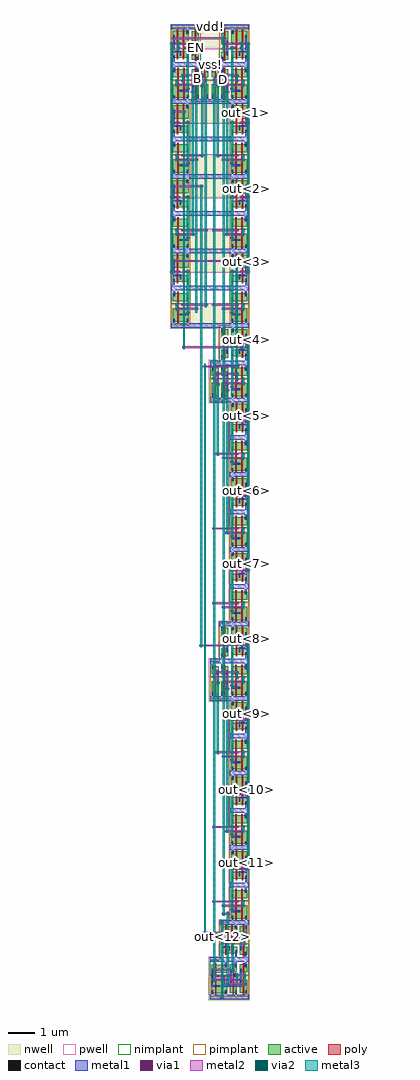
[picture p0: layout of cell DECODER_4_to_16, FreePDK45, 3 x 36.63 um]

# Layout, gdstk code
from math import pi, radians
import gdstk
lib = gdstk.Library(unit=1e-6, precision=1e-09)
def R(c, l, rs):  # rectangles x0, y0, x1, y1
    for r in rs: c.add(gdstk.rectangle(r[:2], r[2:], *l))
def A(c, l, x, y, w, h, nx, ny, dx, dy):  # array of equal rectangles
    R(c, l, [(x+i*dx, y+j*dy, x+i*dx+w, y+j*dy+h) for i in range(nx) for j in range(ny)])
active = (1, 0)
pwell = (2, 0)
nwell = (3, 0)
nimplant = (4, 0)
pimplant = (5, 0)
poly = (9, 0)
contact = (10, 0)
metal1 = (11, 0)
via1 = (12, 0)
metal2 = (13, 0)
via2 = (14, 0)
metal3 = (15, 0)

nor2 = lib.new_cell('NOR2')
R(nor2, active, [(0.15,-0.785,0.75,-0.535), (0.15,-0.265,0.75,0.235)])
R(nor2, pwell, [(0.05,-1.14,0.85,-0.435)])
R(nor2, nwell, [(0.05,-0.435,0.85,0.49)])
R(nor2, nimplant, [(0.1,-1.025,0.8,-0.435)])
R(nor2, pimplant, [(0.1,-0.435,0.8,0.375)])
R(nor2, poly, [(0.3,-0.84,0.35,0.29), (0.525,-0.84,0.575,0.29), (0.3,-0.445,0.405,-0.37), (0.525,-0.445,0.63,-0.37)])
R(nor2, contact, [(0.16,-0.78,0.225,-0.715), (0.67,-0.78,0.735,-0.715), (0.415,-0.66,0.48,-0.595), (0.33,-0.44,0.395,-0.375), (0.56,-0.44,0.625,-0.375), (0.155,-0.035,0.22,0.03), (0.66,0.165,0.725,0.23)])
R(nor2, metal1, [(0.1,-1.11,0.8,-0.94), (0.16,-1.07,0.23,-0.68), (0.67,-1.07,0.74,-0.68), (0.41,-0.695,0.48,-0.505), (0.15,-0.57,0.23,0.065), (0.15,-0.57,0.48,-0.505), (0.295,-0.44,0.43,-0.37), (0.525,-0.44,0.66,-0.37), (0.655,0.13,0.725,0.33), (0.1,0.29,0.8,0.46)])
nor2.add(gdstk.Label('vss!', (0.445,-1.01), layer=11, texttype=0))
nor2.add(gdstk.Label('vdd!', (0.465,0.365), layer=11, texttype=0))
nor2.add(gdstk.Label('B', (0.4,-0.405), layer=11, texttype=0))
nor2.add(gdstk.Label('A', (0.635,-0.405), layer=11, texttype=0))
nor2.add(gdstk.Label('Z', (0.185,-0.455), layer=11, texttype=0))

nand2 = lib.new_cell('NAND2')
R(nand2, active, [(0.26,0.295,0.86,0.595), (0.26,0.865,0.86,1.365)])
R(nand2, pwell, [(0.16,-0.01,0.96,0.695)])
R(nand2, nwell, [(0.16,0.695,0.96,1.62)])
R(nand2, nimplant, [(0.21,0.105,0.91,0.695)])
R(nand2, pimplant, [(0.21,0.695,0.91,1.505)])
R(nand2, poly, [(0.41,0.24,0.46,1.42), (0.635,0.24,0.685,1.42), (0.41,0.685,0.515,0.76), (0.635,0.685,0.74,0.76)])
R(nand2, contact, [(0.77,0.3,0.835,0.365), (0.265,0.485,0.33,0.55), (0.44,0.69,0.505,0.755), (0.67,0.69,0.735,0.755), (0.5,1.06,0.565,1.125), (0.27,1.295,0.335,1.36), (0.78,1.295,0.845,1.36)])
R(nand2, metal1, [(0.21,0.02,0.91,0.19), (0.77,0.15,0.84,0.4), (0.26,0.45,0.33,1.13), (0.405,0.69,0.54,0.76), (0.635,0.69,0.77,0.76), (0.265,1.06,0.6,1.13), (0.27,1.26,0.34,1.46), (0.78,1.26,0.85,1.465), (0.21,1.42,0.91,1.59)])
nand2.add(gdstk.Label('Z', (0.295,0.605), layer=11, texttype=0))
nand2.add(gdstk.Label('B', (0.73,0.725), layer=11, texttype=0))
nand2.add(gdstk.Label('A', (0.515,0.725), layer=11, texttype=0))
nand2.add(gdstk.Label('vss!', (0.555,0.12), layer=11, texttype=0))
nand2.add(gdstk.Label('vdd!', (0.575,1.495), layer=11, texttype=0))

invd1 = lib.new_cell('INVD1')
R(invd1, active, [(0.545,-1.465,0.82,-1.165), (0.545,-0.895,0.82,-0.395)])
R(invd1, pwell, [(0.435,-1.76,0.93,-1.055)])
R(invd1, nwell, [(0.435,-1.055,0.93,-0.13)])
R(invd1, nimplant, [(0.485,-1.645,0.88,-1.055)])
R(invd1, pimplant, [(0.485,-1.055,0.88,-0.245)])
R(invd1, poly, [(0.655,-1.515,0.705,-0.34), (0.6,-1.095,0.705,-1.02)])
R(invd1, contact, [(0.55,-1.455,0.615,-1.39), (0.745,-1.265,0.81,-1.2), (0.605,-1.09,0.67,-1.025), (0.745,-0.87,0.81,-0.805), (0.55,-0.465,0.615,-0.4)])
R(invd1, metal1, [(0.485,-1.73,0.88,-1.56), (0.55,-1.64,0.63,-1.355), (0.745,-1.3,0.815,-0.765), (0.605,-1.125,0.675,-0.99), (0.545,-0.5,0.615,-0.33), (0.485,-0.33,0.88,-0.16)])
invd1.add(gdstk.Label('vo', (0.775,-1.06), layer=11, texttype=0))
invd1.add(gdstk.Label('vi', (0.635,-1.045), layer=11, texttype=0))
invd1.add(gdstk.Label('vss!', (0.68,-1.705), layer=11, texttype=0))
invd1.add(gdstk.Label('vdd!', (0.675,-0.23), layer=11, texttype=0))

decoder_2_to_4 = lib.new_cell('DECODER_2_to_4')
R(decoder_2_to_4, metal1, [(1.925,-5.64,1.995,-5.42)])
A(decoder_2_to_4, via1, 2.11, -13.885, 0.065, 0.065, 1, 3, 0, 2.8)
A(decoder_2_to_4, via1, 2.29, -13.59, 0.065, 0.065, 1, 4, 0, 2.8)
A(decoder_2_to_4, via1, 2.52, -13.59, 0.065, 0.065, 1, 4, 0, 2.8)
A(decoder_2_to_4, via1, 2.235, -12.355, 0.065, 0.065, 1, 4, 0, 2.8)
A(decoder_2_to_4, via1, 2.465, -12.355, 0.065, 0.065, 1, 4, 0, 2.8)
R(decoder_2_to_4, via1, [(1.925,-5.605,1.99,-5.54), (2.11,-5.48,2.175,-5.415), (1.57,-5.38,1.635,-5.315), (1.925,-5.345,1.99,-5.28), (1.43,-5.16,1.495,-5.095), (1.785,-5.16,1.85,-5.095), (1.57,-4.985,1.635,-4.92), (1.93,-3.805,1.995,-3.74)])
A(decoder_2_to_4, metal2, 2.075, -13.89, 0.135, 0.07, 1, 3, 0, 2.8)
A(decoder_2_to_4, metal2, 2.485, -13.595, 0.135, 0.07, 1, 4, 0, 2.8)
A(decoder_2_to_4, metal2, 2.075, -12.355, 0.26, 0.07, 1, 4, 0, 2.8)
A(decoder_2_to_4, metal2, 2.43, -12.355, 0.38, 0.07, 1, 3, 0, 2.8)
R(decoder_2_to_4, metal2, [(1.745,-13.75,2.62,-13.68), (1.395,-13.595,2.39,-13.525), (1.89,-10.95,2.62,-10.88), (1.395,-10.795,2.39,-10.725), (1.75,-8.15,2.62,-8.08), (1.535,-7.995,2.39,-7.925), (1.89,-5.61,2.025,-5.54), (2.075,-5.485,2.21,-5.415), (1.535,-5.385,1.67,-5.315), (1.89,-5.345,2.625,-5.275), (2.255,-5.195,2.39,-5.125), (1.75,-5.165,1.885,-5.095), (1.395,-5.16,1.53,-5.09), (1.535,-4.99,2.39,-4.92), (2.43,-3.955,2.565,-3.885), (1.895,-3.805,2.81,-3.735)])
A(decoder_2_to_4, via2, 2.71, -12.355, 0.065, 0.065, 1, 3, 0, 2.8)
R(decoder_2_to_4, via2, [(2.11,-13.885,2.175,-13.82), (1.785,-13.745,1.85,-13.68), (2.52,-13.745,2.585,-13.68), (1.43,-13.59,1.495,-13.525), (2.52,-13.59,2.585,-13.525), (2.11,-12.355,2.175,-12.29), (2.11,-11.085,2.175,-11.02), (1.925,-10.945,1.99,-10.88), (2.52,-10.945,2.585,-10.88), (1.43,-10.79,1.495,-10.725), (2.52,-10.79,2.585,-10.725), (2.11,-9.555,2.175,-9.49), (2.11,-8.285,2.175,-8.22), (1.785,-8.145,1.85,-8.08), (2.52,-8.145,2.585,-8.08), (1.57,-7.99,1.635,-7.925), (2.52,-7.99,2.585,-7.925), (2.11,-6.755,2.175,-6.69), (1.925,-5.605,1.99,-5.54), (2.11,-5.48,2.175,-5.415), (1.57,-5.38,1.635,-5.315), (2.52,-5.345,2.585,-5.28), (2.29,-5.19,2.355,-5.125), (2.52,-5.19,2.585,-5.125), (1.43,-5.16,1.495,-5.095), (1.785,-5.16,1.85,-5.095), (2.29,-4.99,2.355,-4.925), (2.11,-3.955,2.175,-3.89), (2.465,-3.955,2.53,-3.89), (2.71,-3.805,2.775,-3.74), (2.465,-3.8,2.53,-3.735)])
A(decoder_2_to_4, metal3, 2.11, -13.92, 0.07, 1.665, 1, 4, 0, 2.8)
A(decoder_2_to_4, metal3, 2.52, -13.78, 0.07, 0.29, 1, 4, 0, 2.8)
R(decoder_2_to_4, metal3, [(1.785,-13.86,1.855,-5.06), (1.43,-13.655,1.5,-5.06), (2.71,-12.39,2.78,-3.705), (1.925,-10.98,1.995,-5.505), (1.57,-8.025,1.64,-5.28), (2.29,-5.225,2.36,-4.89), (2.465,-3.995,2.535,-3.69)])
decoder_2_to_4.add(gdstk.Reference(nor2, (2.86,-3.515), rotation=pi, x_reflection=True))
decoder_2_to_4.add(gdstk.Reference(nor2, (2.86,-6.315), rotation=pi, x_reflection=True))
decoder_2_to_4.add(gdstk.Reference(nor2, (2.86,-9.115), rotation=pi, x_reflection=True))
decoder_2_to_4.add(gdstk.Reference(nor2, (2.86,-11.915), rotation=pi, x_reflection=True))
decoder_2_to_4.add(gdstk.Reference(nand2, (1.85,-12.835), x_reflection=True))
decoder_2_to_4.add(gdstk.Reference(nand2, (1.85,-10.035), x_reflection=True))
decoder_2_to_4.add(gdstk.Reference(nand2, (1.85,-7.235), x_reflection=True))
decoder_2_to_4.add(gdstk.Reference(nand2, (1.85,-4.435), x_reflection=True))
decoder_2_to_4.add(gdstk.Reference(invd1, (0.825,-6.185), x_reflection=True))
decoder_2_to_4.add(gdstk.Reference(invd1, (1.18,-6.185), x_reflection=True))
decoder_2_to_4.add(gdstk.Reference(invd1, (1.18,-2.895)))
decoder_2_to_4.add(gdstk.Label('vss!', (2.485,-4.475), layer=11, texttype=0))
decoder_2_to_4.add(gdstk.Label('vdd!', (2.66,-3.09), layer=11, texttype=0))
decoder_2_to_4.add(gdstk.Label('out<3>', (2.665,-11.94), layer=11, texttype=0))
decoder_2_to_4.add(gdstk.Label('out<2>', (2.67,-9.215), layer=11, texttype=0))
decoder_2_to_4.add(gdstk.Label('out<1>', (2.66,-6.365), layer=11, texttype=0))
decoder_2_to_4.add(gdstk.Label('out<0>', (2.67,-3.535), layer=11, texttype=0))
decoder_2_to_4.add(gdstk.Label('A', (1.43,-5.06), layer=11, texttype=0))
decoder_2_to_4.add(gdstk.Label('B', (1.79,-5.07), layer=11, texttype=0))
decoder_2_to_4.add(gdstk.Label('EN', (1.785,-4.02), layer=11, texttype=0))

metal2_3 = lib.new_cell('metal2_3')
R(metal2_3, metal2, [(0.215,0.05,0.355,0.12)])
R(metal2_3, via2, [(0.25,0.05,0.32,0.12)])
R(metal2_3, metal3, [(0.25,0.01,0.32,0.16)])

metal1_3 = lib.new_cell('metal1_3')
R(metal1_3, via1, [(0.04,0.005,0.11,0.075)])
R(metal1_3, metal2, [(0.005,0.005,0.145,0.075)])
R(metal1_3, via2, [(0.04,0.005,0.11,0.075)])
R(metal1_3, metal3, [(0.04,-0.03,0.11,0.11)])

via1_8 = lib.new_cell('via1_8')
R(via1_8, metal1, [(-0.07,-0.035,0.07,0.035)])
R(via1_8, via1, [(-0.035,-0.035,0.035,0.035)])
R(via1_8, metal2, [(-0.07,-0.035,0.07,0.035)])

bit_12 = lib.new_cell('BIT_12')
R(bit_12, nimplant, [(0.51,0.93,1.96,1.52)])
R(bit_12, pimplant, [(0.51,0.12,1.96,0.93)])
R(bit_12, metal1, [(0.76,0.5,1.47,0.575), (0.76,0.5,0.83,1), (1.4,0.5,1.47,0.935), (1.055,2.07,1.125,2.21), (1.315,2.105,1.385,2.31), (0.76,2.275,1.385,2.345)])
R(bit_12, via1, [(1.46,0.08,1.525,0.145), (1.46,2.885,1.525,2.95)])
R(bit_12, metal2, [(1.425,0.075,1.56,0.145), (1.14,0.865,1.765,0.935), (1.02,1.105,1.91,1.175), (1.425,2.88,1.56,2.95)])
R(bit_12, via2, [(1.46,0.08,1.525,0.145), (1.46,2.885,1.525,2.95)])
R(bit_12, metal3, [(1.455,0.045,1.525,2.985), (1.055,1.065,1.125,2.21)])
bit_12.add(gdstk.Reference(invd1, (0.015,3.165)))
bit_12.add(gdstk.Reference(invd1, (0.395,-0.125), x_reflection=True))
bit_12.add(gdstk.Reference(invd1, (0.015,-0.125), x_reflection=True))
bit_12.add(gdstk.Reference(nand2, (2.17,1.625), rotation=pi))
bit_12.add(gdstk.Reference(nor2, (1.68,2.545), rotation=pi, x_reflection=True))
bit_12.add(gdstk.Reference(metal2_3, (0.805,1.055)))
bit_12.add(gdstk.Reference(metal1_3, (1.015,2.1)))
bit_12.add(gdstk.Reference(via1_8, (1.84,1.14)))
bit_12.add(gdstk.Reference(via1_8, (1.695,0.9)))
bit_12.add(gdstk.Reference(via1_8, (1.21,0.9)))
bit_12.add(gdstk.Label('A', (1.035,0.97), layer=11, texttype=0))
bit_12.add(gdstk.Label('bit12', (1.495,2.33), layer=11, texttype=0))
bit_12.add(gdstk.Label('EN', (0.655,2.145), layer=11, texttype=0))
bit_12.add(gdstk.Label('B', (0.655,0.965), layer=11, texttype=0))
bit_12.add(gdstk.Label('vss!', (1.445,1.555), layer=11, texttype=0))
bit_12.add(gdstk.Label('vdd!', (1.49,2.88), layer=11, texttype=0))

decoder_4_to_16 = lib.new_cell('DECODER_4_to_16')
A(decoder_4_to_16, pwell, 2.66, -10.59, 1.4, 1.18, 1, 3, 0, 2.8)
R(decoder_4_to_16, pwell, [(3.055,-1.485,3.665,-1.01)])
R(decoder_4_to_16, nwell, [(2.66,-11.515,4.06,-10.59), (2.66,-9.41,4.06,-7.79), (2.66,-6.61,4.06,-4.99), (2.66,-3.81,4.06,-3.115), (3.055,-1.01,3.665,-0.09)])
R(decoder_4_to_16, metal1, [(4.3,-35.855,4.41,-35.72), (2.585,-11.485,3.745,-11.315), (2.57,-10.085,4.125,-9.915), (2.575,-8.685,4.135,-8.515), (2.575,-7.285,4.14,-7.115), (2.57,-5.885,4.155,-5.715), (2.595,-4.485,4.13,-4.315), (2.995,-0.285,3.725,-0.115)])
R(decoder_4_to_16, via1, [(4.345,-35.82,4.41,-35.755), (4.625,-35.82,4.69,-35.755), (4.625,-34.645,4.69,-34.58), (3.84,-23.445,3.905,-23.38), (3.84,-12.245,3.905,-12.18), (1.96,-9.015,2.025,-8.95), (1.96,-6.215,2.025,-6.15), (1.96,-3.42,2.025,-3.355), (3.835,-1.045,3.9,-0.98), (1.97,-0.655,2.035,-0.59)])
R(decoder_4_to_16, via2, [(3.99,-36.13,4.055,-36.065), (4.625,-36.13,4.69,-36.065), (3.48,-35.99,3.545,-35.925), (4.345,-35.99,4.41,-35.925), (4.345,-35.82,4.41,-35.755), (4.625,-35.82,4.69,-35.755), (4.625,-34.645,4.69,-34.58), (3.135,-34.22,3.2,-34.155), (4.62,-34.22,4.685,-34.155), (3.835,-33.51,3.9,-33.445), (3.99,-33.51,4.055,-33.445), (2.995,-23.44,3.06,-23.375), (3.135,-12.97,3.2,-12.905), (4.325,-12.97,4.39,-12.905), (2.35,-12.24,2.415,-12.175), (4.325,-9.01,4.39,-8.945), (2.995,-6.21,3.06,-6.145), (2.35,-3.415,2.415,-3.35), (3.835,-1.045,3.9,-0.98), (3.835,-0.65,3.9,-0.585)])
decoder_4_to_16.add(gdstk.FlexPath([(4.725,-35.785),(4.59,-35.785)], 0.07, ends="flush", simple_path=True, layer=13, datatype=0))  # metal2
decoder_4_to_16.add(gdstk.FlexPath([(3.945,-36.1),(4.74,-36.1)], 0.07, ends="flush", simple_path=True, layer=13, datatype=0))  # metal2
decoder_4_to_16.add(gdstk.FlexPath([(3.795,-33.48),(4.105,-33.48)], 0.07, ends="flush", simple_path=True, layer=13, datatype=0))  # metal2
decoder_4_to_16.add(gdstk.FlexPath([(4.445,-35.785),(4.31,-35.785)], 0.07, ends="flush", simple_path=True, layer=13, datatype=0))  # metal2
decoder_4_to_16.add(gdstk.FlexPath([(3.445,-35.96),(4.45,-35.96)], 0.07, ends="flush", simple_path=True, layer=13, datatype=0))  # metal2
decoder_4_to_16.add(gdstk.FlexPath([(4.59,-34.615),(4.725,-34.615)], 0.07, ends="flush", simple_path=True, layer=13, datatype=0))  # metal2
decoder_4_to_16.add(gdstk.FlexPath([(4.74,-34.19),(3.095,-34.19)], 0.07, ends="flush", simple_path=True, layer=13, datatype=0))  # metal2
decoder_4_to_16.add(gdstk.FlexPath([(4.45,-12.94),(3.065,-12.94)], 0.07, ends="flush", simple_path=True, layer=13, datatype=0))  # metal2
decoder_4_to_16.add(gdstk.FlexPath([(1.925,-8.98),(4.44,-8.98)], 0.07, ends="flush", simple_path=True, layer=13, datatype=0))  # metal2
decoder_4_to_16.add(gdstk.FlexPath([(3.94,-23.41),(2.955,-23.41)], 0.07, ends="flush", simple_path=True, layer=13, datatype=0))  # metal2
decoder_4_to_16.add(gdstk.FlexPath([(1.925,-6.18),(3.105,-6.18)], 0.07, ends="flush", simple_path=True, layer=13, datatype=0))  # metal2
decoder_4_to_16.add(gdstk.FlexPath([(3.94,-12.21),(2.31,-12.21)], 0.07, ends="flush", simple_path=True, layer=13, datatype=0))  # metal2
decoder_4_to_16.add(gdstk.FlexPath([(1.925,-3.385),(2.455,-3.385)], 0.07, ends="flush", simple_path=True, layer=13, datatype=0))  # metal2
decoder_4_to_16.add(gdstk.FlexPath([(3.8,-1.01),(3.935,-1.01)], 0.07, ends="flush", simple_path=True, layer=13, datatype=0))  # metal2
decoder_4_to_16.add(gdstk.FlexPath([(1.935,-0.62),(3.965,-0.62)], 0.07, ends="flush", simple_path=True, layer=13, datatype=0))  # metal2
decoder_4_to_16.add(gdstk.FlexPath([(4.66,-35.72),(4.66,-36.175)], 0.07, ends="flush", simple_path=True, layer=15, datatype=0))  # metal3
decoder_4_to_16.add(gdstk.FlexPath([(4.025,-33.405),(4.025,-36.18)], 0.07, ends="flush", simple_path=True, layer=15, datatype=0))  # metal3
decoder_4_to_16.add(gdstk.FlexPath([(3.87,-33.285),(3.87,-33.55)], 0.07, ends="flush", simple_path=True, layer=15, datatype=0))  # metal3
decoder_4_to_16.add(gdstk.FlexPath([(3.87,-22.09),(3.87,-24.54)], 0.07, ends="flush", simple_path=True, layer=15, datatype=0))  # metal3
decoder_4_to_16.add(gdstk.FlexPath([(3.87,-10.89),(3.87,-13.345)], 0.07, ends="flush", simple_path=True, layer=15, datatype=0))  # metal3
decoder_4_to_16.add(gdstk.FlexPath([(4.38,-35.72),(4.38,-36.03)], 0.07, ends="flush", simple_path=True, layer=15, datatype=0))  # metal3
decoder_4_to_16.add(gdstk.FlexPath([(3.515,-33.08),(3.515,-36.03)], 0.07, ends="flush", simple_path=True, layer=15, datatype=0))  # metal3
decoder_4_to_16.add(gdstk.FlexPath([(3.515,-21.895),(3.515,-24.535)], 0.07, ends="flush", simple_path=True, layer=15, datatype=0))  # metal3
decoder_4_to_16.add(gdstk.FlexPath([(3.515,-10.685),(3.515,-13.34)], 0.07, ends="flush", simple_path=True, layer=15, datatype=0))  # metal3
decoder_4_to_16.add(gdstk.FlexPath([(4.655,-34.68),(4.655,-34.115)], 0.07, ends="flush", simple_path=True, layer=15, datatype=0))  # metal3
decoder_4_to_16.add(gdstk.FlexPath([(3.17,-12.845),(3.17,-34.27)], 0.07, ends="flush", simple_path=True, layer=15, datatype=0))  # metal3
decoder_4_to_16.add(gdstk.FlexPath([(4.36,-13.02),(4.36,-8.905)], 0.07, ends="flush", simple_path=True, layer=15, datatype=0))  # metal3
decoder_4_to_16.add(gdstk.FlexPath([(3.03,-6.11),(3.03,-23.48)], 0.07, ends="flush", simple_path=True, layer=15, datatype=0))  # metal3
decoder_4_to_16.add(gdstk.FlexPath([(2.385,-3.315),(2.385,-12.29)], 0.07, ends="flush", simple_path=True, layer=15, datatype=0))  # metal3
decoder_4_to_16.add(gdstk.FlexPath([(3.87,-1.08),(3.87,-0.545)], 0.07, ends="flush", simple_path=True, layer=15, datatype=0))  # metal3
decoder_4_to_16.add(gdstk.Reference(decoder_2_to_4, (2.05,2.94)))
decoder_4_to_16.add(gdstk.Reference(decoder_2_to_4, (2.05,-8.26)))
decoder_4_to_16.add(gdstk.Reference(decoder_2_to_4, (4.67,2.94), rotation=pi, x_reflection=True))
decoder_4_to_16.add(gdstk.Reference(decoder_2_to_4, (2.05,-19.46)))
decoder_4_to_16.add(gdstk.Reference(bit_12, (5.31,-36.72), rotation=pi, x_reflection=True))
decoder_4_to_16.add(gdstk.Label('vss!', (3.36,-1.6), layer=11, texttype=0))
decoder_4_to_16.add(gdstk.Label('vss!', (3.36,-1.6), layer=11, texttype=0))
decoder_4_to_16.add(gdstk.Label('vdd!', (3.38,-0.195), layer=11, texttype=0))
decoder_4_to_16.add(gdstk.Label('vdd!', (3.38,-0.195), layer=11, texttype=0))
decoder_4_to_16.add(gdstk.Label('vdd!', (3.38,-0.195), layer=11, texttype=0))
decoder_4_to_16.add(gdstk.Label('out<12>', (3.815,-34.32), layer=11, texttype=0))
decoder_4_to_16.add(gdstk.Label('out<11>', (4.73,-31.545), layer=11, texttype=0))
decoder_4_to_16.add(gdstk.Label('out<10>', (4.72,-28.82), layer=11, texttype=0))
decoder_4_to_16.add(gdstk.Label('out<9>', (4.73,-25.975), layer=11, texttype=0))
decoder_4_to_16.add(gdstk.Label('out<8>', (4.725,-23.14), layer=11, texttype=0))
decoder_4_to_16.add(gdstk.Label('out<7>', (4.72,-20.345), layer=11, texttype=0))
decoder_4_to_16.add(gdstk.Label('out<6>', (4.72,-17.595), layer=11, texttype=0))
decoder_4_to_16.add(gdstk.Label('out<5>', (4.725,-14.765), layer=11, texttype=0))
decoder_4_to_16.add(gdstk.Label('out<4>', (4.725,-11.92), layer=11, texttype=0))
decoder_4_to_16.add(gdstk.Label('out<3>', (4.715,-9), layer=11, texttype=0))
decoder_4_to_16.add(gdstk.Label('out<2>', (4.72,-6.275), layer=11, texttype=0))
decoder_4_to_16.add(gdstk.Label('out<1>', (4.71,-3.425), layer=11, texttype=0))
decoder_4_to_16.add(gdstk.Label('out<0>', (4.72,-0.595), layer=11, texttype=0))
decoder_4_to_16.add(gdstk.Label('D', (3.875,-2.185), layer=11, texttype=0))
decoder_4_to_16.add(gdstk.Label('C', (3.515,-2.155), layer=11, texttype=0))
decoder_4_to_16.add(gdstk.Label('EN', (2.86,-0.975), layer=11, texttype=0))
decoder_4_to_16.add(gdstk.Label('B', (2.875,-2.135), layer=11, texttype=0))
decoder_4_to_16.add(gdstk.Label('A', (3.24,-2.125), layer=11, texttype=0))

lib.write_gds('DECODER_4_to_16.gds')
